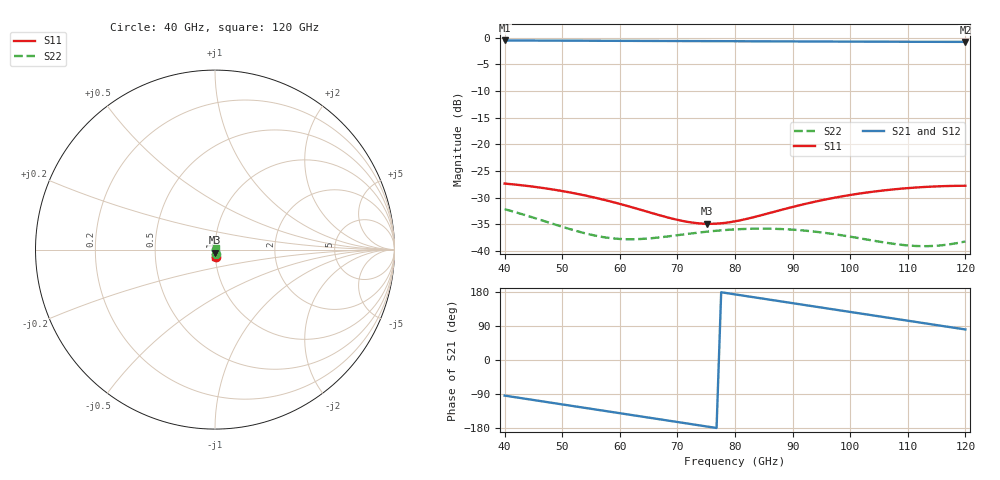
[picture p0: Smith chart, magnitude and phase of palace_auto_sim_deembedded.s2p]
! Created with skrf 1.11.0 (http://scikit-rf.org).
# GHz S DB R 50.0
!freq dBS11 angS11 dBS21 angS21 dBS12 angS12 dBS22 angS22
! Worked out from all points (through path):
!   101 points, 40 GHz to 120 GHz, reference 50 ohm
!   highest |S21| = -0.50 dB at 40 GHz (marker M1); lowest = -0.8 dB at 120 GHz (marker M2)
!   group delay of S21, straight-line fit = 6.44 ps
!   lowest |S11| = -34.9 dB at 75.2 GHz (marker M3), VSWR 1.04, Z = 49.8 - j1.78 ohm
!   |S11| at or under -10 dB: start of sweep to end of sweep
!   |S22| runs from -39.1 to -32.1 dB; largest |S21 - S12| = 1.1e-14
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40  -27.34 -84.6  -0.50 -93.9  -0.50 -93.9  -32.14 -79.4
43.2  -27.69 -90.9  -0.51 -101.4  -0.51 -101.4  -33.14 -83.9
46.4  -28.13 -96.7  -0.53 -108.8  -0.53 -108.8  -34.21 -87.3
49.6  -28.67 -102.0  -0.54 -116.2  -0.54 -116.2  -35.31 -89.1
53.6  -29.49 -107.5  -0.55 -125.5  -0.55 -125.5  -36.57 -88.9
56.8  -30.27 -110.9  -0.56 -133.0  -0.56 -133.0  -37.32 -86.9
60  -31.16 -113.1  -0.57 -140.4  -0.57 -140.4  -37.73 -84.1
63.2  -32.13 -113.7  -0.59 -147.8  -0.59 -147.8  -37.76 -81.9
67.2  -33.37 -111.5  -0.60 -157.1  -0.60 -157.1  -37.40 -81.3
72  -34.57 -103.6  -0.62 -168.3  -0.62 -168.3  -36.76 -84.8
75.2  -34.89 -95.9  -0.63 -175.7  -0.63 -175.7  -36.36 -89.5
80  -34.42 -84.5  -0.65 173.2  -0.65 173.2  -35.94 -99.5
83.2  -33.66 -79.0  -0.66 165.8  -0.66 165.8  -35.81 -107.6
86.4  -32.75 -75.7  -0.67 158.3  -0.67 158.3  -35.82 -117.0
89.6  -31.84 -74.3  -0.68 150.9  -0.68 150.9  -35.96 -127.4
93.6  -30.81 -74.5  -0.70 141.7  -0.70 141.7  -36.33 -141.9
100.8  -29.35 -78.0  -0.72 125.0  -0.72 125.0  -37.45 -173.2
107.2  -28.47 -82.7  -0.74 110.2  -0.74 110.2  -38.60 151.8
110.4  -28.16 -85.3  -0.75 102.8  -0.75 102.8  -38.98 131.5
113.6  -27.94 -88.0  -0.76 95.4  -0.76 95.4  -39.07 109.9
116.8  -27.81 -90.5  -0.76 88.0  -0.76 88.0  -38.80 88.1
120  -27.75 -93.0  -0.77 80.6  -0.77 80.6  -38.20 67.0
